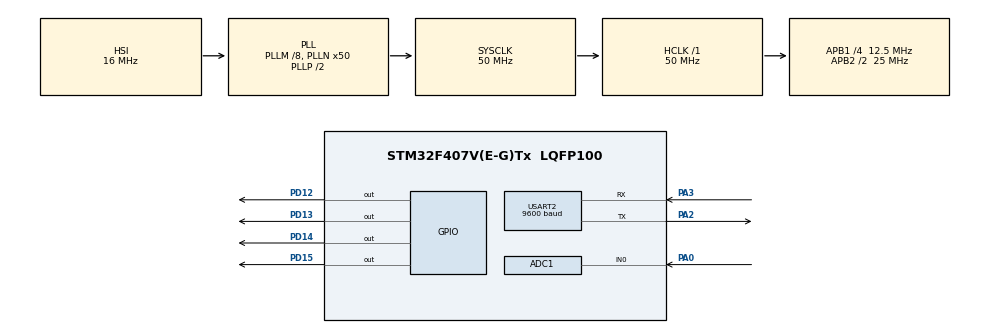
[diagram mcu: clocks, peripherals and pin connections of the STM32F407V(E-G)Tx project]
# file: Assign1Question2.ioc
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ADC1.Channel-0\#ChannelRegularConversion=ADC_CHANNEL_0
ADC1.NbrOfConversionFlag=1
ADC1.Rank-0\#ChannelRegularConversion=1
ADC1.SamplingTime-0\#ChannelRegularConversion=ADC_SAMPLETIME_3CYCLES
ADC1.master=1
FREERTOS.INCLUDE_vTaskDelayUntil=1
FREERTOS.Tasks01=defaultTask,-3,128,StartDefaultTask,Default,NULL,Dynamic,NULL,NULL
FREERTOS.configUSE_NEWLIB_REENTRANT=1
Mcu.Family=STM32F4
Mcu.Name=STM32F407V(E-G)Tx
Mcu.Package=LQFP100
NVIC.PriorityGroup=NVIC_PRIORITYGROUP_4
NVIC.TIM1_UP_TIM10_IRQn=true\:15\:0\:false\:false\:true\:false\:false\:true\:true
NVIC.TimeBase=TIM1_UP_TIM10_IRQn
NVIC.TimeBaseIP=TIM1
PA0-WKUP.Signal=ADCx_IN0
PA2.Mode=Asynchronous
PA2.Signal=USART2_TX
PA3.Mode=Asynchronous
PA3.Signal=USART2_RX
PD12.Signal=GPIO_Output
PD13.Signal=GPIO_Output
PD14.Signal=GPIO_Output
PD15.Signal=GPIO_Output
ProjectManager.HeapSize=0x200
ProjectManager.StackSize=0x400
ProjectManager.TargetToolchain=STM32CubeIDE
RCC.48MHZClocksFreq_Value=14285714.285714285
RCC.AHBFreq_Value=50000000
RCC.APB1CLKDivider=RCC_HCLK_DIV4
RCC.APB1Freq_Value=12500000
RCC.APB1TimFreq_Value=25000000
RCC.APB2CLKDivider=RCC_HCLK_DIV2
RCC.APB2Freq_Value=25000000
RCC.APB2TimFreq_Value=50000000
RCC.CortexFreq_Value=50000000
RCC.HCLKFreq_Value=50000000
RCC.HSE_VALUE=8000000
RCC.HSI_VALUE=16000000
RCC.PLLM=8
RCC.PLLN=50
RCC.PLLQ=7
RCC.SYSCLKFreq_VALUE=50000000
RCC.SYSCLKSource=RCC_SYSCLKSOURCE_PLLCLK
RCC.VCOOutputFreq_Value=100000000
SH.ADCx_IN0.0=ADC1_IN0,IN0
USART2.BaudRate=9600
USART2.VirtualMode=VM_ASYNC
VP_FREERTOS_VS_CMSIS_V1.Mode=CMSIS_V1
VP_SYS_VS_tim1.Mode=TIM1
board=STM32F407G-DISC1

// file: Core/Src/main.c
/* USER CODE BEGIN Header */
/**
  ******************************************************************************
  * @file           : main.c
  * @brief          : Main program body
  ******************************************************************************
  * @attention
  *
  * Copyright (c) 2024 STMicroelectronics.
  * All rights reserved.
  *
  * This software is licensed under terms that can be found in the LICENSE file
  * in the root directory of this software component.
  * If no LICENSE file comes with this software, it is provided AS-IS.
  *
  ******************************************************************************
  */
/* USER CODE END Header */
#include "main.h"
#include "cmsis_os.h"

/* USER CODE BEGIN Includes */
#include<stdio.h>
#include<string.h>

/* USER CODE END Includes */

ADC_HandleTypeDef hadc1;

UART_HandleTypeDef huart2;

osThreadId defaultTaskHandle;
/* USER CODE BEGIN PV */
xQueueHandle xQueue;
/* USER CODE END PV */

void SystemClock_Config(void);
static void MX_GPIO_Init(void);
static void MX_ADC1_Init(void);
static void MX_USART2_UART_Init(void);
void StartDefaultTask(void const * argument);

/* USER CODE BEGIN 0 */
#define LED1_PIN GPIO_PIN_12
#define LED2_PIN GPIO_PIN_13
#define LED3_PIN GPIO_PIN_14
#define LED4_PIN GPIO_PIN_15

#define LED_GPIO_PORT GPIOG

/* USER CODE END 0 */

int main(void)
{

  /* USER CODE BEGIN 1 */
	void vLedTask(void *pvParameters) {
	    uint16_t ledPin = *((uint16_t *) pvParameters);  // LED pin
	    uint32_t rate = *((uint32_t *) (pvParameters + sizeof(uint16_t))); // Rate (ms)

	    while (1) {
	        HAL_GPIO_TogglePin(LED_GPIO_PORT, ledPin);  // Toggle the LED
	        osDelay(rate);  // Wait for the specified rate
	    }
	}

  /* USER CODE END 1 */

  /* MCU Configuration--------------------------------------------------------*/

  /* Reset of all peripherals, Initializes the Flash interface and the Systick. */
  HAL_Init();

  /* Configure the system clock */
  SystemClock_Config();

  /* Initialize all configured peripherals */
  MX_GPIO_Init();
  MX_ADC1_Init();
  MX_USART2_UART_Init();

  /* USER CODE BEGIN RTOS_SEMAPHORES */
  xQueue = xQueueCreate(5, sizeof(int));
  /* USER CODE END RTOS_SEMAPHORES */

  /* Create the thread(s) */
  /* definition and creation of defaultTask */
  osThreadDef(defaultTask, StartDefaultTask, osPriorityIdle, 0, 128);
  defaultTaskHandle = osThreadCreate(osThread(defaultTask), NULL);

  /* USER CODE BEGIN RTOS_THREADS */
  uint16_t led1 = LED1_PIN;
      uint32_t rate1 = 500;  // LED1 toggles every 500ms
      xTaskCreate(vLedTask, "LED1 Task", 128, &led1, 2, NULL);
      xTaskCreate(vLedTask, "Rate1 Task", 128, &rate1, 2, NULL);

      uint16_t led2 = LED2_PIN;
      uint32_t rate2 = 1000; // LED2 toggles every 1000ms
      xTaskCreate(vLedTask, "LED2 Task", 128, &led2, 2, NULL);
      xTaskCreate(vLedTask, "Rate2 Task", 128, &rate2, 2, NULL);

      uint16_t led3 = LED3_PIN;
      uint32_t rate3 = 1500; // LED3 toggles every 1500ms
      xTaskCreate(vLedTask, "LED3 Task", 128, &led3, 2, NULL);
      xTaskCreate(vLedTask, "Rate3 Task", 128, &rate3, 2, NULL);

      uint16_t led4 = LED4_PIN;
      uint32_t rate4 = 2000; // LED4 toggles every 2000ms
      xTaskCreate(vLedTask, "LED4 Task", 128, &led4, 2, NULL);
      xTaskCreate(vLedTask, "Rate4 Task", 128, &rate4, 2, NULL);

  /* USER CODE END RTOS_THREADS */

  /* Start scheduler */
  osKernelStart();

  /* We should never get here as control is now taken by the scheduler */

  /* Infinite loop */
  while (1)
  {

  }
}

void SystemClock_Config(void)
{
  RCC_OscInitTypeDef RCC_OscInitStruct = {0};
  RCC_ClkInitTypeDef RCC_ClkInitStruct = {0};

  /** Configure the main internal regulator output voltage
  */
  __HAL_RCC_PWR_CLK_ENABLE();
  __HAL_PWR_VOLTAGESCALING_CONFIG(PWR_REGULATOR_VOLTAGE_SCALE1);

  /** Initializes the RCC Oscillators according to the specified parameters
  * in the RCC_OscInitTypeDef structure.
  */
  RCC_OscInitStruct.OscillatorType = RCC_OSCILLATORTYPE_HSI;
  RCC_OscInitStruct.HSIState = RCC_HSI_ON;
  RCC_OscInitStruct.HSICalibrationValue = RCC_HSICALIBRATION_DEFAULT;
  RCC_OscInitStruct.PLL.PLLState = RCC_PLL_ON;
  RCC_OscInitStruct.PLL.PLLSource = RCC_PLLSOURCE_HSI;
  RCC_OscInitStruct.PLL.PLLM = 8;
  RCC_OscInitStruct.PLL.PLLN = 50;
  RCC_OscInitStruct.PLL.PLLP = RCC_PLLP_DIV2;
  RCC_OscInitStruct.PLL.PLLQ = 7;
  if (HAL_RCC_OscConfig(&RCC_OscInitStruct) != HAL_OK)
  {
    Error_Handler();
  }

  /** Initializes the CPU, AHB and APB buses clocks
  */
  RCC_ClkInitStruct.ClockType = RCC_CLOCKTYPE_HCLK|RCC_CLOCKTYPE_SYSCLK
                              |RCC_CLOCKTYPE_PCLK1|RCC_CLOCKTYPE_PCLK2;
  RCC_ClkInitStruct.SYSCLKSource = RCC_SYSCLKSOURCE_PLLCLK;
  RCC_ClkInitStruct.AHBCLKDivider = RCC_SYSCLK_DIV1;
  RCC_ClkInitStruct.APB1CLKDivider = RCC_HCLK_DIV4;
  RCC_ClkInitStruct.APB2CLKDivider = RCC_HCLK_DIV2;

  if (HAL_RCC_ClockConfig(&RCC_ClkInitStruct, FLASH_LATENCY_1) != HAL_OK)
  {
    Error_Handler();
  }
}

static void MX_ADC1_Init(void)
{

  ADC_ChannelConfTypeDef sConfig = {0};

  /** Configure the global features of the ADC (Clock, Resolution, Data Alignment and number of conversion)
  */
  hadc1.Instance = ADC1;
  hadc1.Init.ClockPrescaler = ADC_CLOCK_SYNC_PCLK_DIV2;
  hadc1.Init.Resolution = ADC_RESOLUTION_12B;
  hadc1.Init.ScanConvMode = DISABLE;
  hadc1.Init.ContinuousConvMode = DISABLE;
  hadc1.Init.DiscontinuousConvMode = DISABLE;
  hadc1.Init.ExternalTrigConvEdge = ADC_EXTERNALTRIGCONVEDGE_NONE;
  hadc1.Init.ExternalTrigConv = ADC_SOFTWARE_START;
  hadc1.Init.DataAlign = ADC_DATAALIGN_RIGHT;
  hadc1.Init.NbrOfConversion = 1;
  hadc1.Init.DMAContinuousRequests = DISABLE;
  hadc1.Init.EOCSelection = ADC_EOC_SINGLE_CONV;
  if (HAL_ADC_Init(&hadc1) != HAL_OK)
  {
    Error_Handler();
  }

  /** Configure for the selected ADC regular channel its corresponding rank in the sequencer and its sample time.
  */
  sConfig.Channel = ADC_CHANNEL_0;
  sConfig.Rank = 1;
  sConfig.SamplingTime = ADC_SAMPLETIME_3CYCLES;
  if (HAL_ADC_ConfigChannel(&hadc1, &sConfig) != HAL_OK)
  {
    Error_Handler();
  }

}

static void MX_USART2_UART_Init(void)
{

  huart2.Instance = USART2;
  huart2.Init.BaudRate = 9600;
  huart2.Init.WordLength = UART_WORDLENGTH_8B;
  huart2.Init.StopBits = UART_STOPBITS_1;
  huart2.Init.Parity = UART_PARITY_NONE;
  huart2.Init.Mode = UART_MODE_TX_RX;
  huart2.Init.HwFlowCtl = UART_HWCONTROL_NONE;
  huart2.Init.OverSampling = UART_OVERSAMPLING_16;
  if (HAL_UART_Init(&huart2) != HAL_OK)
  {
    Error_Handler();
  }

}

static void MX_GPIO_Init(void)
{
  GPIO_InitTypeDef GPIO_InitStruct = {0};

  /* GPIO Ports Clock Enable */
  __HAL_RCC_GPIOA_CLK_ENABLE();
  __HAL_RCC_GPIOD_CLK_ENABLE();

  /*Configure GPIO pin Output Level */
  HAL_GPIO_WritePin(GPIOD, GPIO_PIN_12|GPIO_PIN_13|GPIO_PIN_14|GPIO_PIN_15, GPIO_PIN_RESET);

  /*Configure GPIO pins : PD12 PD13 PD14 PD15 */
  GPIO_InitStruct.Pin = GPIO_PIN_12|GPIO_PIN_13|GPIO_PIN_14|GPIO_PIN_15;
  GPIO_InitStruct.Mode = GPIO_MODE_OUTPUT_PP;
  GPIO_InitStruct.Pull = GPIO_NOPULL;
  GPIO_InitStruct.Speed = GPIO_SPEED_FREQ_LOW;
  HAL_GPIO_Init(GPIOD, &GPIO_InitStruct);

}

void StartDefaultTask(void const * argument)
{
  for(;;)
  {
    osDelay(1);
  }
}

void HAL_TIM_PeriodElapsedCallback(TIM_HandleTypeDef *htim)
{
  if (htim->Instance == TIM1) {
    HAL_IncTick();
  }
}

void Error_Handler(void)
{
  __disable_irq();
  while (1)
  {
  }
}
